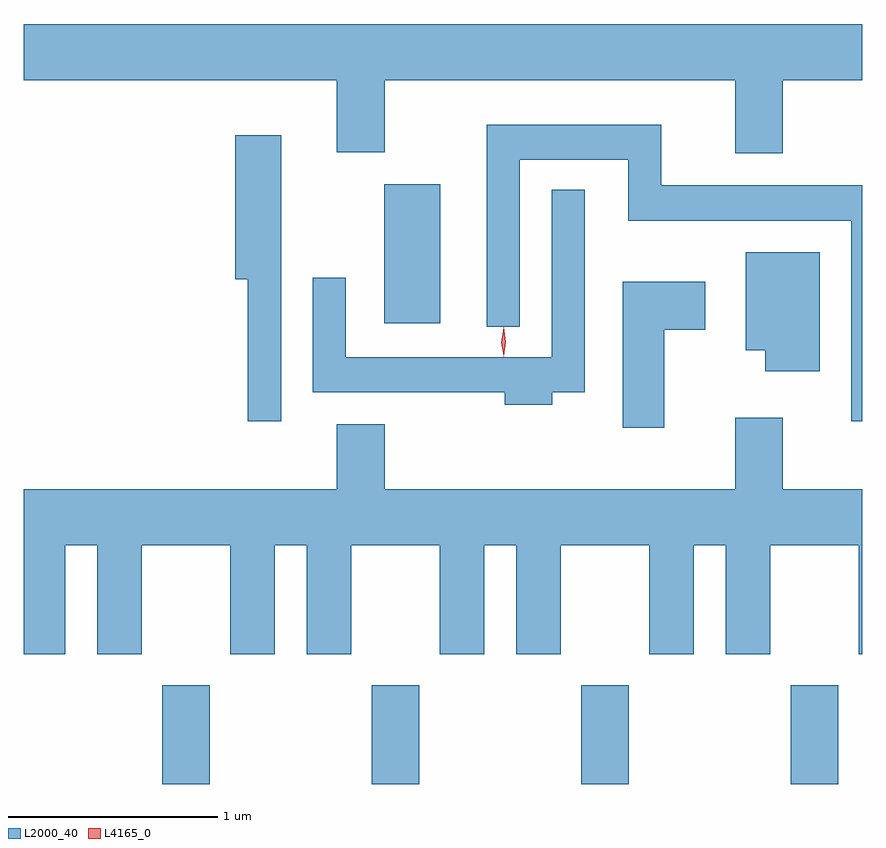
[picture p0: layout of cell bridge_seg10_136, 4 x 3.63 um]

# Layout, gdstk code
import gdstk
lib = gdstk.Library(unit=1e-6, precision=1e-09)
def R(c, l, rs):  # rectangles x0, y0, x1, y1
    for r in rs: c.add(gdstk.rectangle(r[:2], r[2:], *l))
def A(c, l, x, y, w, h, nx, ny, dx, dy):  # array of equal rectangles
    R(c, l, [(x+i*dx, y+j*dy, x+i*dx+w, y+j*dy+h) for i in range(nx) for j in range(ny)])
def P(c, l, *ps):  # polygons
    for p in ps: c.add(gdstk.Polygon(p, *l))
L2000_40 = (2000, 40)
L4165_0 = (4165, 0)

bridge_seg10_136 = lib.new_cell('bridge_seg10_136')
A(bridge_seg10_136, L2000_40, 1558.046, 2110.557, 0.228, 0.472, 4, 1, 1, 0)
R(bridge_seg10_136, L2000_40, [(1559.106,2112.756,1559.374,2113.419)])
P(bridge_seg10_136, L2000_40, [(1561.009,2113.916),(1561.387,2113.916),(1561.387,2114.184),(1557.387,2114.184),(1557.387,2113.916),(1558.881,2113.916),(1558.881,2113.571),(1559.109,2113.571),(1559.109,2113.916),(1560.781,2113.916),(1560.781,2113.566),(1561.009,2113.566)],
  [(1561.387,2113.414),(1560.429,2113.414),(1560.429,2113.704),(1559.596,2113.704),(1559.596,2112.738),(1559.754,2112.738),(1559.754,2113.536),(1560.271,2113.536),(1560.271,2113.246),(1561.336,2113.246),(1561.336,2112.288),(1561.387,2112.288)],
  [(1558.614,2113.654),(1558.396,2113.654),(1558.396,2112.966),(1558.456,2112.966),(1558.456,2112.288),(1558.614,2112.288)],
  [(1559.909,2112.426),(1560.064,2112.426),(1560.064,2113.393),(1559.906,2113.393),(1559.906,2112.594),(1558.924,2112.594),(1558.924,2112.973),(1558.766,2112.973),(1558.766,2112.426),(1559.681,2112.426),(1559.681,2112.366),(1559.909,2112.366)],
  [(1561.184,2113.094),(1560.831,2113.094),(1560.831,2112.626),(1560.926,2112.626),(1560.926,2112.526),(1561.184,2112.526)],
  [(1560.444,2112.726),(1560.639,2112.726),(1560.639,2112.954),(1560.246,2112.954),(1560.246,2112.256),(1560.444,2112.256)],
  [(1557.584,2111.696),(1557.736,2111.696),(1557.736,2111.176),(1557.949,2111.176),(1557.949,2111.696),(1558.371,2111.696),(1558.371,2111.176),(1558.584,2111.176),(1558.584,2111.696),(1558.736,2111.696),(1558.736,2111.176),(1558.949,2111.176),(1558.949,2111.696),(1559.371,2111.696),(1559.371,2111.176),(1559.584,2111.176),(1559.584,2111.696),(1559.736,2111.696),(1559.736,2111.176),(1559.949,2111.176),(1559.949,2111.696),(1560.371,2111.696),(1560.371,2111.176),(1560.584,2111.176),(1560.584,2111.696),(1560.736,2111.696),(1560.736,2111.176),(1560.949,2111.176),(1560.949,2111.696),(1561.371,2111.696),(1561.371,2111.176),(1561.387,2111.176),(1561.387,2111.964),(1561.009,2111.964),(1561.009,2112.304),(1560.781,2112.304),(1560.781,2111.964),(1559.109,2111.964),(1559.109,2112.274),(1558.881,2112.274),(1558.881,2111.964),(1557.387,2111.964),(1557.387,2111.176),(1557.584,2111.176)])
P(bridge_seg10_136, L4165_0, [(1559.677,2112.597),(1559.677,2112.598),(1559.667,2112.667),(1559.676,2112.736),(1559.677,2112.736),(1559.677,2112.736),(1559.687,2112.667),(1559.678,2112.598)],
  [(1559.676,2112.599),(1559.676,2112.6),(1559.666,2112.666),(1559.676,2112.732),(1559.676,2112.733),(1559.677,2112.732),(1559.686,2112.666),(1559.677,2112.6)])

lib.write_gds('bridge_seg10_136.gds')
